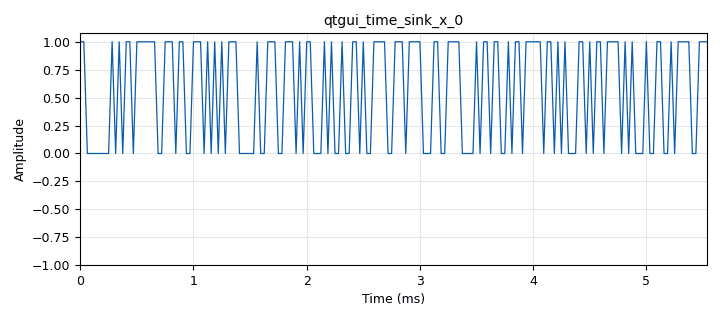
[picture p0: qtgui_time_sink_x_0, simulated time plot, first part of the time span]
options:
  parameters:
    generate_options: qt_gui
    id: encoding
    output_language: python
    title: Not titled yet
  states: {}

blocks:
- name: samp_rate
  id: variable
  parameters:
    value: '32000'
  states: {}
- name: sampling
  id: variable_qtgui_chooser
  parameters:
    label0: Sample> 0
    label1: Sample>100000
    label2: Sample>32k
    num_opts: '3'
    option0: '0'
    option1: int(samp_rate/2)
    option2: samp_rate
    type: int
    value: '0'
  states: {}
- name: analog_random_source_x_0
  id: analog_random_source_x
  parameters:
    max: '2'
    min: '0'
    num_samps: '500'
    repeat: 'True'
    type: byte
  states: {}
- name: blocks_char_to_float_0
  id: blocks_char_to_float
  parameters:
    scale: '1'
  states: {}
- name: blocks_throttle_0
  id: blocks_throttle
  parameters:
    samples_per_second: sampling
    type: byte
  states: {}
- name: qtgui_time_sink_x_0
  id: qtgui_time_sink_x
  parameters:
    size: '1024'
    srate: samp_rate
    type: float
  states: {}

connections:
- [analog_random_source_x_0, '0', blocks_throttle_0, '0']
- [blocks_char_to_float_0, '0', qtgui_time_sink_x_0, '0']
- [blocks_throttle_0, '0', blocks_char_to_float_0, '0']

metadata:
  file_format: 1
  grc_version: 3.10.5.1
